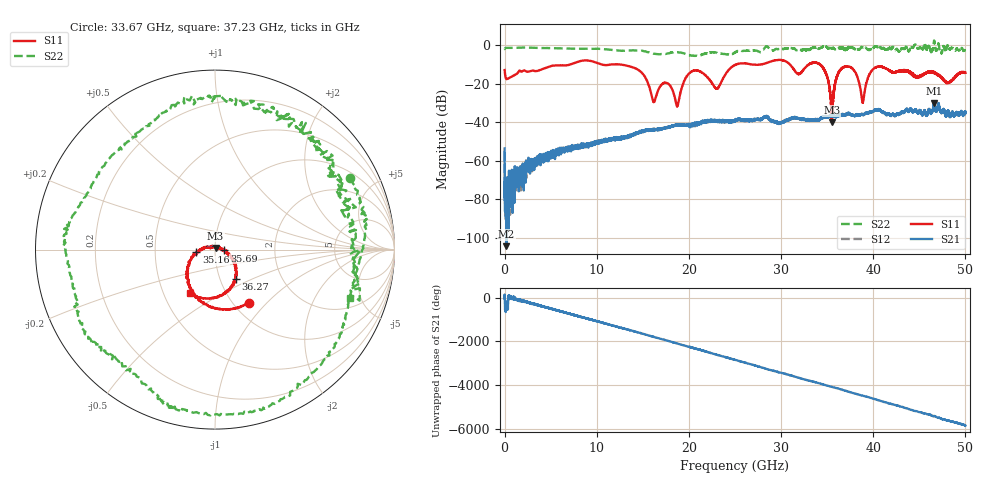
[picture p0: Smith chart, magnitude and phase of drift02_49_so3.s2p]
!Created with skrf (http://scikit-rf.org).
# Hz S RI R 50.0
!freq ReS11 ImS11 ReS21 ImS21 ReS12 ImS12 ReS22 ImS22
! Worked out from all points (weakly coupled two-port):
!   10001 points, 300 kHz to 50 GHz, reference 50 ohm
!   highest |S21| = -30.03 dB at 46.6 GHz (marker M1); lowest = -104.2 dB at 195.3 MHz (marker M2)
!   lowest |S11| = -39.9 dB at 35.51 GHz (marker M3), VSWR 1.02, Z = 50.3 + j0.951 ohm
!   |S11| at or under -10 dB: start of sweep to 7.177 GHz; 12.36 GHz to 25.18 GHz (12.81 GHz wide, 68.3 % of centre); 34.21 GHz to end of sweep (the widest 3 of 13)
!   |S22| runs from -5.7 to 2.4 dB; largest |S21 - S12| = 0.0038
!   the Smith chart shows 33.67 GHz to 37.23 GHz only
!   S11 on the Smith chart (normalised r, x): 33.67 GHz: 1.17, -0.79; 35.16 GHz: 0.81, -0.02; 35.69 GHz: 1.11, -0.01; 36.27 GHz: 1.18, -0.41; 37.23 GHz: 0.68, -0.36
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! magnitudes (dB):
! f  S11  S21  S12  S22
! 300 kHz  -13.0  -53.5  -55.3  -2.1
! 195.3 MHz  -17.6  -104.2  -71.7  -1.4
! 8.335 GHz  -8.2  -50.8  -52.5  -1.9
! 14.03 GHz  -11.8  -45.9  -46.4  -2.8
! 16.15 GHz  -29.3  -43.7  -43.9  -4.4
! 16.67 GHz  -23.3  -43.8  -43.8  -4.7
! 18.74 GHz  -31.7  -41.7  -41.4  -3.7
! 20.25 GHz  -13.9  -41.1  -41.0  -5.4
! 23.04 GHz  -22.6  -39.0  -39.4  -4.1
! 25 GHz  -10.4  -38.7  -39.2  -3.9
! 33.34 GHz  -9.3  -39.0  -38.6  -1.5
! 33.67 GHz  -9.1  -38.7  -38.6  -1.4
! 35.16 GHz  -19.6  -37.2  -36.9  -1.5
! 35.51 GHz  -39.9  -37.0  -36.8  -1.8
! 35.69 GHz  -25.5  -37.1  -36.6  -1.4
! 36.27 GHz  -13.9  -36.5  -36.6  -1.5
! 37.23 GHz  -11.1  -35.8  -35.5  -1.9
! 38.86 GHz  -29.7  -35.9  -35.9  -1.3
! 39.96 GHz  -12.7  -34.4  -34.4  -1.8
! 41.67 GHz  -13.0  -35.6  -35.7  -1.9
! 46.6 GHz  -14.2  -30.0  -30.2  1.8
! 50 GHz  -14.4  -35.0  -34.9  -2.7
